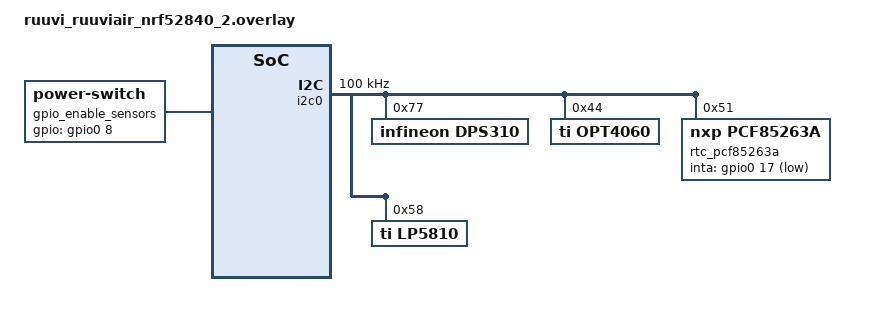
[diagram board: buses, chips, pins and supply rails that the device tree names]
/**
 * @copyright Ruuvi Innovations Ltd, license BSD-3-Clause.
 */

#include <zephyr/dt-bindings/led/led.h>

/* This overlay file is used by the main ruuvi.air.c project, MCUboot and B0,
   so the path to lp5810.h must be relative to
   "ruuvi.air.c/boards/ruuvi/ruuviair/dts"
   because only this directory is added to the include path for all 3 projects:
   the main ruuvi.air.c project, MCUboot and B0.
*/
#include <../../../../drivers/lp5810/include/lp5810.h>

/ {
	gpio_enable_sensors: gpio_enable_sensors {
		compatible = "power-switch";
		status = "okay";
		gpios = <&gpio0 8 (GPIO_ACTIVE_HIGH)>;
	};
};

&gpio0 {
	status = "okay";
	gpio-reserved-ranges = <0 2>, <4 2>, <9 2>, <11 2>, <13 2>, <18 7>;
	gpio-line-names =
		"XL1",             // GPIO 0 *
		"XL2",             // GPIO 1 *
		"RC_PIN3",         // GPIO 2
		"RC_PIN2",         // GPIO 3
		"MIC_PDM",         // GPIO 4 *
		"MIC_CLK",         // GPIO 5 *
		"",                // GPIO 6
		"BUTTON_PINHOLE",  // GPIO 7
		"ENABLE_SENSORS",  // GPIO 8
		"NFC1",            // GPIO 9 *
		"NFC2",            // GPIO 10 *
		"UART0_TX",        // GPIO 11 *
		"UART0_RX",        // GPIO 12 *
		"I2C_SCL",         // GPIO 13 *
		"I2C_SDA",         // GPIO 14 *
		"",                // GPIO 15
		"",                // GPIO 16
		"RTC_INT",         // GPIO 17
		"RESET",           // GPIO 18 *
		"QSPI CS",         // GPIO 19 *
		"QSPI DIO1",       // GPIO 20 *
		"QSPI DIO2",       // GPIO 21 *
		"QSPI DIO0",       // GPIO 22 *
		"QSPI CLK",        // GPIO 23 *
		"QSPI_DIO3",       // GPIO 24 *
		"",                // GPIO 25
		"",                // GPIO 26
		"",                // GPIO 27
		"RC_PIN4",         // GPIO 28
		"RC_PIN5",         // GPIO 29
		"RC_PIN6",         // GPIO 30
		"RC_PIN7";         // GPIO 31
};

&gpio1 {
	status = "okay";
	gpio-reserved-ranges = <0 1>;
	gpio-line-names =
		"SWO",					// GPIO 0 *
		"",						// GPIO 1
		"",						// GPIO 2
		"",						// GPIO 3
		"",						// GPIO 4
		"",						// GPIO 5
		"",						// GPIO 6
		"",						// GPIO 7
		"PINHOLE_LED_GREEN",	// GPIO 8
		"PINHOLE_LED_RED",		// GPIO 9
		"",						// GPIO 10
		"",						// GPIO 11
		"",						// GPIO 12
		"",						// GPIO 13
		"",						// GPIO 14
		"";						// GPIO 15
};

&i2c0 {
	status = "okay";
	clock-frequency = <I2C_BITRATE_STANDARD>;

	DPS310@77 {
		status = "okay";
		compatible = "infineon,dps310";
		reg = <0x77>;
	};

	OPT4060@44 {
		status = "okay";
		compatible = "ti,opt4060";
		reg = <0x44>;
	};

	rtc_pcf85263a: pcf85263a@51 {
		status = "okay";
		inta-gpios = <&gpio0 17 (GPIO_ACTIVE_LOW | GPIO_PULL_UP)>;
		compatible = "nxp,pcf85263a";
		reg = <0x51>;
	};

	LP5810@58 {
		status = "okay";
		compatible = "ti,lp5810";
		reg = <0x58>;
		// max_curr_opt; // Uncomment to set max current to 51 mA
		lod_action_cur_out_shutdown; // Shut down current sink when LED open fault happens
		// lsd_action_all_out_shutdown; // Shut down all OUTs when LED short fault happens.
		lsd_threshold = <LP5810_LSD_THRESHOLD_065_VOUT>;
		led_0 {
			label = "LP5810 Red LED";
			index = <0>;
			color-mapping =
				<LED_COLOR_ID_RED>;
		};

		led_1 {
			label = "LP5810 Green LED";
			index = <1>;
			color-mapping =
				<LED_COLOR_ID_GREEN>;
		};

		led_2 {
			label = "LP5810 Blue LED";
			index = <2>;
			color-mapping =
				<LED_COLOR_ID_BLUE>;
		};
	};
};

/ {
	aliases {
		rtc-0 = &rtc_pcf85263a;
	};
};
